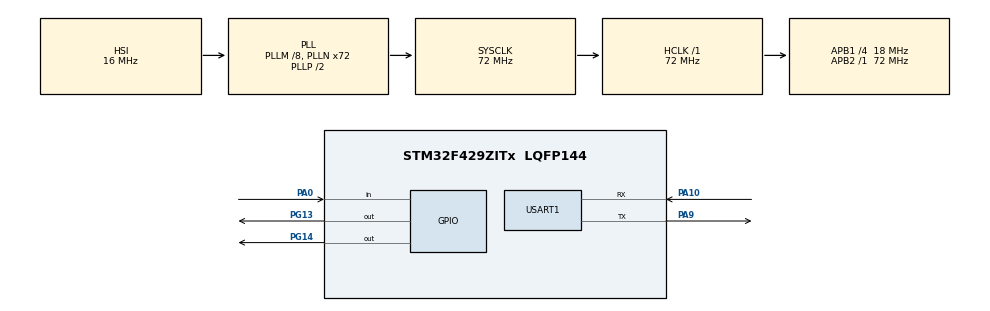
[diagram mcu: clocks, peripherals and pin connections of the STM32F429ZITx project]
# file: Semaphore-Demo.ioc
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FREERTOS.Tasks01=defaultTask,24,128,StartDefaultTask,Default,NULL,Dynamic,NULL,NULL
Mcu.Family=STM32F4
Mcu.Name=STM32F429ZITx
Mcu.Package=LQFP144
NVIC.PriorityGroup=NVIC_PRIORITYGROUP_4
PA0/WKUP.GPIO_PuPd=GPIO_PULLDOWN
PA0/WKUP.Signal=GPIO_Input
PA10.Mode=Asynchronous
PA10.Signal=USART1_RX
PA9.Mode=Asynchronous
PA9.Signal=USART1_TX
PG13.Signal=GPIO_Output
PG14.Signal=GPIO_Output
ProjectManager.HeapSize=0x200
ProjectManager.StackSize=0x400
ProjectManager.TargetToolchain=STM32CubeIDE
RCC.48MHZClocksFreq_Value=48000000
RCC.AHBFreq_Value=72000000
RCC.APB1CLKDivider=RCC_HCLK_DIV4
RCC.APB1Freq_Value=18000000
RCC.APB1TimFreq_Value=36000000
RCC.APB2Freq_Value=72000000
RCC.APB2TimFreq_Value=72000000
RCC.CortexFreq_Value=72000000
RCC.HCLKFreq_Value=72000000
RCC.HSE_VALUE=8000000
RCC.HSI_VALUE=16000000
RCC.LSE_VALUE=32768
RCC.PLLM=8
RCC.PLLN=72
RCC.PLLQ=3
RCC.PLLSAIN=50
RCC.SYSCLKFreq_VALUE=72000000
RCC.SYSCLKSource=RCC_SYSCLKSOURCE_PLLCLK
RCC.VCOOutputFreq_Value=144000000
USART1.VirtualMode=VM_ASYNC
VP_FREERTOS_VS_CMSIS_V2.Mode=CMSIS_V2
board=STM32F429I-DISC1

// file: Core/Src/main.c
/* USER CODE BEGIN Header */
/**
 ******************************************************************************
 * @file           : main.c
 * @brief          : Main program body
 ******************************************************************************
 * @attention
 *
 * Copyright (c) 2025 STMicroelectronics.
 * All rights reserved.
 *
 * This software is licensed under terms that can be found in the LICENSE file
 * in the root directory of this software component.
 * If no LICENSE file comes with this software, it is provided AS-IS.
 *
 ******************************************************************************
 */
/* USER CODE END Header */
#include "main.h"

UART_HandleTypeDef huart1;

/* Definitions for defaultTask */

/* USER CODE BEGIN PV */
/* Semaphore handles */
SemaphoreHandle_t xBinarySemaphore;
SemaphoreHandle_t xCountingSemaphore;

/* Counters */
static volatile uint32_t ulProducedItems = 0;
static volatile uint32_t ulConsumedItems = 0;
static volatile uint32_t ulResourceAcquiredCount = 0;
/* USER CODE END PV */

void SystemClock_Config(void);
static void MX_GPIO_Init(void);
static void MX_USART1_UART_Init(void);
void StartDefaultTask(void *argument);

/* USER CODE BEGIN PFP */
/* Function prototypes */
static void ProducerTask(void *pvParameters);
static void ConsumerTask(void *pvParameters);
static void ResourceUserTask(void *pvParameters);
static void ButtonTask(void *pvParameters);
/* USER CODE END PFP */

/* USER CODE BEGIN 0 */
int _write(int file, char *data, int len)
{
	HAL_UART_Transmit(&huart1, (uint8_t*)data, len, HAL_MAX_DELAY);
	return len;
}
/* USER CODE END 0 */

int main(void)
{

	/* MCU Configuration--------------------------------------------------------*/

	/* Reset of all peripherals, Initializes the Flash interface and the Systick. */
	HAL_Init();

	/* Configure the system clock */
	SystemClock_Config();

	/* Initialize all configured peripherals */
	MX_GPIO_Init();
	MX_USART1_UART_Init();
	/* USER CODE BEGIN 2 */
	printf("=== FreeRTOS Task Control Demonstration ===\r\n");
	printf("STM32F429I Discovery Board\r\n");
	printf("FreeRTOS Version: %s\r\n", tskKERNEL_VERSION_NUMBER);

	/* USER CODE END 2 */

	/* Init scheduler */

	/* USER CODE BEGIN RTOS_SEMAPHORES */
	/* add semaphores, ... */
	/* Create a binary semaphore for producer-consumer synchronization */
	xBinarySemaphore = xSemaphoreCreateBinary();

	/* Create a counting semaphore with initial count of 3 (3 resources available) */
	xCountingSemaphore = xSemaphoreCreateCounting(5, 3);
	if (xBinarySemaphore != NULL && xCountingSemaphore != NULL) {
		printf("Semaphores created successfully.\r\n");
		printf("Binary semaphore: Producer-Consumer synchronization.\r\n");
		printf("Counting semaphore: Resource management (3/5 available).\r\n");
		/* USER CODE END RTOS_SEMAPHORES */

		/* Create the thread(s) */
		/* creation of defaultTask */

		/* USER CODE BEGIN RTOS_THREADS */
		/* add threads, ... */
		printf("=== FreeRTOS Semaphore Demonstration ===\r\n");
		printf("STM32F429I Discovery Board\r\n");

		/* Create tasks */
		xTaskCreate(
				ProducerTask,           /* Task function */
				"Producer",             /* Task name */
				configMINIMAL_STACK_SIZE, /* Stack size */
				NULL,                   /* Parameters to pass to the task */
				tskIDLE_PRIORITY + 1,   /* Task priority */
				NULL                    /* Task handle */
		);

		xTaskCreate(
				ConsumerTask,           /* Task function */
				"Consumer",             /* Task name */
				configMINIMAL_STACK_SIZE, /* Stack size */
				NULL,                   /* Parameters to pass to the task */
				tskIDLE_PRIORITY + 1,   /* Task priority */
				NULL                    /* Task handle */
		);

		xTaskCreate(
				ResourceUserTask,       /* Task function */
				"ResourceUser",         /* Task name */
				configMINIMAL_STACK_SIZE, /* Stack size */
				NULL,                   /* Parameters to pass to the task */
				tskIDLE_PRIORITY + 1,   /* Task priority */
				NULL                    /* Task handle */
		);

		xTaskCreate(
				ButtonTask,             /* Task function */
				"Button",               /* Task name */
				configMINIMAL_STACK_SIZE, /* Stack size */
				NULL,                   /* Parameters to pass to the task */
				tskIDLE_PRIORITY + 2,   /* Higher priority for button */
				NULL                    /* Task handle */
		);

		printf("All tasks created. Starting scheduler...\r\n");

		/* Start the scheduler */
		vTaskStartScheduler();
	} else {
		printf("Failed to create semaphores. Out of memory?\r\n");
	}
	/* USER CODE END RTOS_THREADS */

	/* Start scheduler */

	/* We should never get here as control is now taken by the scheduler */

	/* Infinite loop */
	while (1)
	{

	}
}

void SystemClock_Config(void)
{
	RCC_OscInitTypeDef RCC_OscInitStruct = {0};
	RCC_ClkInitTypeDef RCC_ClkInitStruct = {0};

	/** Configure the main internal regulator output voltage
	 */
	__HAL_RCC_PWR_CLK_ENABLE();
	__HAL_PWR_VOLTAGESCALING_CONFIG(PWR_REGULATOR_VOLTAGE_SCALE3);

	/** Initializes the RCC Oscillators according to the specified parameters
	 * in the RCC_OscInitTypeDef structure.
	 */
	RCC_OscInitStruct.OscillatorType = RCC_OSCILLATORTYPE_HSI;
	RCC_OscInitStruct.HSIState = RCC_HSI_ON;
	RCC_OscInitStruct.HSICalibrationValue = RCC_HSICALIBRATION_DEFAULT;
	RCC_OscInitStruct.PLL.PLLState = RCC_PLL_ON;
	RCC_OscInitStruct.PLL.PLLSource = RCC_PLLSOURCE_HSI;
	RCC_OscInitStruct.PLL.PLLM = 8;
	RCC_OscInitStruct.PLL.PLLN = 72;
	RCC_OscInitStruct.PLL.PLLP = RCC_PLLP_DIV2;
	RCC_OscInitStruct.PLL.PLLQ = 3;
	if (HAL_RCC_OscConfig(&RCC_OscInitStruct) != HAL_OK)
	{
		Error_Handler();
	}

	/** Initializes the CPU, AHB and APB buses clocks
	 */
	RCC_ClkInitStruct.ClockType = RCC_CLOCKTYPE_HCLK|RCC_CLOCKTYPE_SYSCLK
			|RCC_CLOCKTYPE_PCLK1|RCC_CLOCKTYPE_PCLK2;
	RCC_ClkInitStruct.SYSCLKSource = RCC_SYSCLKSOURCE_PLLCLK;
	RCC_ClkInitStruct.AHBCLKDivider = RCC_SYSCLK_DIV1;
	RCC_ClkInitStruct.APB1CLKDivider = RCC_HCLK_DIV4;
	RCC_ClkInitStruct.APB2CLKDivider = RCC_HCLK_DIV1;

	if (HAL_RCC_ClockConfig(&RCC_ClkInitStruct, FLASH_LATENCY_2) != HAL_OK)
	{
		Error_Handler();
	}
}

static void MX_USART1_UART_Init(void)
{

	huart1.Instance = USART1;
	huart1.Init.BaudRate = 115200;
	huart1.Init.WordLength = UART_WORDLENGTH_8B;
	huart1.Init.StopBits = UART_STOPBITS_1;
	huart1.Init.Parity = UART_PARITY_NONE;
	huart1.Init.Mode = UART_MODE_TX_RX;
	huart1.Init.HwFlowCtl = UART_HWCONTROL_NONE;
	huart1.Init.OverSampling = UART_OVERSAMPLING_16;
	if (HAL_UART_Init(&huart1) != HAL_OK)
	{
		Error_Handler();
	}

}

static void MX_GPIO_Init(void)
{
	GPIO_InitTypeDef GPIO_InitStruct = {0};

	/* GPIO Ports Clock Enable */
	__HAL_RCC_GPIOA_CLK_ENABLE();
	__HAL_RCC_GPIOG_CLK_ENABLE();

	/*Configure GPIO pin Output Level */
	HAL_GPIO_WritePin(GPIOG, GPIO_PIN_13|GPIO_PIN_14, GPIO_PIN_RESET);

	/*Configure GPIO pin : PA0 */
	GPIO_InitStruct.Pin = GPIO_PIN_0;
	GPIO_InitStruct.Mode = GPIO_MODE_INPUT;
	GPIO_InitStruct.Pull = GPIO_PULLDOWN;
	HAL_GPIO_Init(GPIOA, &GPIO_InitStruct);

	/*Configure GPIO pins : PG13 PG14 */
	GPIO_InitStruct.Pin = GPIO_PIN_13|GPIO_PIN_14;
	GPIO_InitStruct.Mode = GPIO_MODE_OUTPUT_PP;
	GPIO_InitStruct.Pull = GPIO_NOPULL;
	GPIO_InitStruct.Speed = GPIO_SPEED_FREQ_LOW;
	HAL_GPIO_Init(GPIOG, &GPIO_InitStruct);

}

/* USER CODE BEGIN 4 */
/**
 * @brief Producer Task - Produces items and signals consumer via binary semaphore
 * @param pvParameters: Task parameters (unused)
 */
static void ProducerTask(void *pvParameters)
{
	(void)pvParameters; /* Suppress unused parameter warning */

	printf("Producer Task: Started\r\n");

	for (;;) {
		/* Simulate producing an item */
		vTaskDelay(pdMS_TO_TICKS(1000));

		ulProducedItems++;
		printf("Producer: Item %lu produced\r\n", ulProducedItems);

		/* Signal the consumer that an item is ready using binary semaphore */
		xSemaphoreGive(xBinarySemaphore);

		/* Toggle green LED to show production activity */
		HAL_GPIO_TogglePin(GPIOG, GPIO_PIN_13);
	}
}

/**
 * @brief Consumer Task - Waits for producer signal via binary semaphore
 * @param pvParameters: Task parameters (unused)
 */
static void ConsumerTask(void *pvParameters)
{
	(void)pvParameters; /* Suppress unused parameter warning */

	printf("Consumer Task: Started - waiting for items...\r\n");

	for (;;) {
		/* Wait for producer to signal that an item is ready */
		if (xSemaphoreTake(xBinarySemaphore, portMAX_DELAY) == pdTRUE) {
			/* Item is available, consume it */
			ulConsumedItems++;
			printf("Consumer: Item %lu consumed\r\n", ulConsumedItems);

			/* Simulate consuming the item */
			vTaskDelay(pdMS_TO_TICKS(500));

			/* Toggle red LED to show consumption activity */
			HAL_GPIO_TogglePin(GPIOG, GPIO_PIN_14);
		}
	}
}

/**
 * @brief Resource User Task - Attempts to acquire and use a limited resource
 * @param pvParameters: Task parameters (unused)
 */
static void ResourceUserTask(void *pvParameters)
{
	(void)pvParameters; /* Suppress unused parameter warning */

	printf("Resource User Task: Started - managing limited resources\r\n");

	for (;;) {
		/* Try to acquire a resource (non-blocking) */
		if (xSemaphoreTake(xCountingSemaphore, pdMS_TO_TICKS(100)) == pdTRUE) {
			/* Resource acquired successfully */
			ulResourceAcquiredCount++;
			printf("Resource User: Resource %lu acquired (Available: %lu)\r\n",
					ulResourceAcquiredCount, (uint32_t)uxSemaphoreGetCount(xCountingSemaphore));

			/* Use the resource for some time */
			vTaskDelay(pdMS_TO_TICKS(2000));

			/* Release the resource */
			xSemaphoreGive(xCountingSemaphore);
			printf("Resource User: Resource %lu released (Available: %lu)\r\n",
					ulResourceAcquiredCount, (uint32_t)uxSemaphoreGetCount(xCountingSemaphore));
		} else {
			/* No resource available */
			printf("Resource User: No resources available, waiting...\r\n");
		}

		vTaskDelay(pdMS_TO_TICKS(500));
	}
}

/**
 * @brief Button Task - Releases additional resources when button is pressed
 * @param pvParameters: Task parameters (unused)
 */
static void ButtonTask(void *pvParameters)
{
	(void)pvParameters; /* Suppress unused parameter warning */

	printf("Button Task: Started - Press button to add resources\r\n");

	for (;;) {
		/* Check if button is pressed */
		if (HAL_GPIO_ReadPin(GPIOA, GPIO_PIN_0) == GPIO_PIN_SET) {
			/* Add a resource to the counting semaphore */
			if (xSemaphoreGive(xCountingSemaphore) == pdTRUE) {
				printf("Button pressed: Resource added (Available: %lu)\r\n",
						(uint32_t)uxSemaphoreGetCount(xCountingSemaphore));
			} else {
				printf("Button pressed: Cannot add resource (semaphore full)\r\n");
			}

			/* Wait for button release */
			while (HAL_GPIO_ReadPin(GPIOA, GPIO_PIN_0) == GPIO_PIN_SET) {
				vTaskDelay(pdMS_TO_TICKS(10));
			}
		}

		vTaskDelay(pdMS_TO_TICKS(50));
	}
}

/* USER CODE END 4 */

void StartDefaultTask(void *argument)
{
	for(;;)
	{
	}
}

void Error_Handler(void)
{
	__disable_irq();
	while (1)
	{
	}
}
